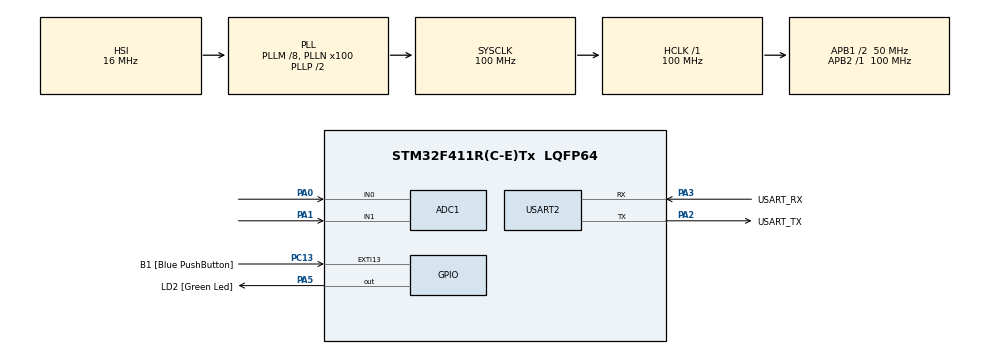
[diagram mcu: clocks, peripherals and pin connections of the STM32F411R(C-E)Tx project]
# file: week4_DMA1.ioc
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ADC1.Channel-0\#ChannelRegularConversion=ADC_CHANNEL_0
ADC1.Channel-1\#ChannelRegularConversion=ADC_CHANNEL_1
ADC1.Channel-2\#ChannelRegularConversion=ADC_CHANNEL_TEMPSENSOR
ADC1.Channel-3\#ChannelRegularConversion=ADC_CHANNEL_VREFINT
ADC1.ContinuousConvMode=ENABLE
ADC1.DMAContinuousRequests=ENABLE
ADC1.DiscontinuousConvMode=DISABLE
ADC1.NbrOfConversion=4
ADC1.NbrOfConversionFlag=1
ADC1.Rank-0\#ChannelRegularConversion=1
ADC1.Rank-1\#ChannelRegularConversion=2
ADC1.Rank-2\#ChannelRegularConversion=3
ADC1.Rank-3\#ChannelRegularConversion=4
ADC1.SamplingTime-0\#ChannelRegularConversion=ADC_SAMPLETIME_56CYCLES
ADC1.SamplingTime-1\#ChannelRegularConversion=ADC_SAMPLETIME_56CYCLES
ADC1.SamplingTime-2\#ChannelRegularConversion=ADC_SAMPLETIME_56CYCLES
ADC1.SamplingTime-3\#ChannelRegularConversion=ADC_SAMPLETIME_56CYCLES
ADC1.ScanConvMode=ENABLE
ADC1.master=1
Dma.ADC1.0.Direction=DMA_PERIPH_TO_MEMORY
Dma.ADC1.0.FIFOMode=DMA_FIFOMODE_DISABLE
Dma.ADC1.0.Instance=DMA2_Stream4
Dma.ADC1.0.MemDataAlignment=DMA_MDATAALIGN_WORD
Dma.ADC1.0.MemInc=DMA_MINC_ENABLE
Dma.ADC1.0.Mode=DMA_CIRCULAR
Dma.ADC1.0.PeriphDataAlignment=DMA_PDATAALIGN_WORD
Dma.ADC1.0.PeriphInc=DMA_PINC_DISABLE
Dma.ADC1.0.Priority=DMA_PRIORITY_LOW
Dma.Request0=ADC1
Mcu.Family=STM32F4
Mcu.Name=STM32F411R(C-E)Tx
Mcu.Package=LQFP64
NVIC.DMA2_Stream4_IRQn=true\:0\:0\:false\:false\:true\:false\:true
NVIC.EXTI15_10_IRQn=true\:0\:0\:false\:false\:true\:true\:true
NVIC.PriorityGroup=NVIC_PRIORITYGROUP_0
NVIC.TIM3_IRQn=true\:0\:0\:false\:false\:true\:true\:true
PA0-WKUP.Signal=ADCx_IN0
PA1.Signal=ADCx_IN1
PA13.GPIO_Label=TMS
PA13.Mode=Serial_Wire
PA13.Signal=SYS_JTMS-SWDIO
PA14.GPIO_Label=TCK
PA14.Mode=Serial_Wire
PA14.Signal=SYS_JTCK-SWCLK
PA2.GPIO_Label=USART_TX
PA2.Mode=Asynchronous
PA2.Signal=USART2_TX
PA3.GPIO_Label=USART_RX
PA3.Mode=Asynchronous
PA3.Signal=USART2_RX
PA5.GPIO_Label=LD2 [Green Led]
PA5.Signal=GPIO_Output
PB3.GPIO_Label=SWO
PB3.Signal=SYS_JTDO-SWO
PC13-ANTI_TAMP.GPIO_Label=B1 [Blue PushButton]
PC13-ANTI_TAMP.GPIO_ModeDefaultEXTI=GPIO_MODE_IT_FALLING
PC13-ANTI_TAMP.GPIO_PuPd=GPIO_PULLUP
PC13-ANTI_TAMP.Signal=GPXTI13
PC14-OSC32_IN.Mode=LSE-External-Oscillator
PC14-OSC32_IN.Signal=RCC_OSC32_IN
PC15-OSC32_OUT.Mode=LSE-External-Oscillator
PC15-OSC32_OUT.Signal=RCC_OSC32_OUT
PH0\ -\ OSC_IN.Mode=HSE-External-Clock-Source
PH0\ -\ OSC_IN.Signal=RCC_OSC_IN
PH1\ -\ OSC_OUT.Mode=HSE-External-Clock-Source
PH1\ -\ OSC_OUT.Signal=RCC_OSC_OUT
ProjectManager.HeapSize=0x200
ProjectManager.StackSize=0x400
ProjectManager.TargetToolchain=STM32CubeIDE
RCC.48MHZClocksFreq_Value=50000000
RCC.AHBFreq_Value=100000000
RCC.APB1CLKDivider=RCC_HCLK_DIV2
RCC.APB1Freq_Value=50000000
RCC.APB1TimFreq_Value=100000000
RCC.APB2Freq_Value=100000000
RCC.APB2TimFreq_Value=100000000
RCC.CortexFreq_Value=100000000
RCC.FLatency-AdvancedSettings=FLASH_LATENCY_3
RCC.HCLKFreq_Value=100000000
RCC.HSE_VALUE=8000000
RCC.HSI_VALUE=16000000
RCC.PLLM=8
RCC.PLLN=100
RCC.SYSCLKFreq_VALUE=100000000
RCC.SYSCLKSource=RCC_SYSCLKSOURCE_PLLCLK
RCC.VCOOutputFreq_Value=200000000
SH.ADCx_IN0.0=ADC1_IN0,IN0
SH.ADCx_IN1.0=ADC1_IN1,IN1
TIM3.AutoReloadPreload=TIM_AUTORELOAD_PRELOAD_DISABLE
TIM3.Period=65535
TIM3.Prescaler=9
TIM3.TIM_MasterOutputTrigger=TIM_TRGO_UPDATE
USART2.VirtualMode=VM_ASYNC
VP_ADC1_TempSens_Input.Mode=IN-TempSens
VP_ADC1_Vref_Input.Mode=IN-Vrefint
VP_TIM3_VS_ClockSourceINT.Mode=Internal
board=NUCLEO-F411RE

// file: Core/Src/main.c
/* USER CODE BEGIN Header */
/**
  ******************************************************************************
  * @file           : main.c
  * @brief          : Main program body
  ******************************************************************************
  * @attention
  *
  * Copyright (c) 2022 STMicroelectronics.
  * All rights reserved.
  *
  * This software is licensed under terms that can be found in the LICENSE file
  * in the root directory of this software component.
  * If no LICENSE file comes with this software, it is provided AS-IS.
  *
  ******************************************************************************
  */
/* USER CODE END Header */
#include "main.h"

ADC_HandleTypeDef hadc1;
DMA_HandleTypeDef hdma_adc1;

TIM_HandleTypeDef htim3;

UART_HandleTypeDef huart2;

/* USER CODE BEGIN PV */
// container of DMA (PA0 PA1 Temp Vref)
uint32_t ADCData[4]={0}; // 8_t byte / 16_t half word / 32_t word
static uint32_t timestp = 0;
static uint32_t responTime = 0;
//static uint64_t Realtime = 0;
//static uint64_t Realtii = 0;
static uint8_t STG = 0; // game state
uint32_t millix;
uint32_t randomTime = 0;
uint32_t deltatime=0;
uint8_t rise = 0; // fake rising edge
uint8_t gameTrig = 0; // start func
uint8_t stx = 0;

uint64_t _microstamp = 0; // help microsc to stamp time from many overflowsss
/* USER CODE END PV */

void SystemClock_Config(void);
static void MX_GPIO_Init(void);
static void MX_USART2_UART_Init(void);
static void MX_DMA_Init(void);
static void MX_ADC1_Init(void);
static void MX_TIM3_Init(void);
/* USER CODE BEGIN PFP */
void StTimeGame();
uint64_t microsc(); // TIM3 as microsecond
/* USER CODE END PFP */

int main(void)
{

  /* MCU Configuration--------------------------------------------------------*/

  /* Reset of all peripherals, Initializes the Flash interface and the Systick. */
  HAL_Init();

  /* Configure the system clock */
  SystemClock_Config();

  /* Initialize all configured peripherals */
  MX_GPIO_Init();
  MX_USART2_UART_Init();
  MX_DMA_Init();
  MX_ADC1_Init();
  MX_TIM3_Init();
  /* USER CODE BEGIN 2 */
  HAL_ADC_Start_DMA(&hadc1, ADCData, 4); // array size
  HAL_GPIO_WritePin(GPIOA, GPIO_PIN_5, GPIO_PIN_SET); // start on LED

  HAL_TIM_Base_Start_IT(&htim3);

  /* USER CODE END 2 */

  /* Infinite loop */
  /* USER CODE BEGIN WHILE */
  while (1)
  {
	  HAL_Delay(100000000);
	  //Realtime = HAL_GetTick(); //microsc()
	  //Realtii = microsc();
	  //if(gameTrig == 1){StTimeGame();}

    /* USER CODE END WHILE */

  }
}

void SystemClock_Config(void)
{
  RCC_OscInitTypeDef RCC_OscInitStruct = {0};
  RCC_ClkInitTypeDef RCC_ClkInitStruct = {0};

  /** Configure the main internal regulator output voltage
  */
  __HAL_RCC_PWR_CLK_ENABLE();
  __HAL_PWR_VOLTAGESCALING_CONFIG(PWR_REGULATOR_VOLTAGE_SCALE1);
  /** Initializes the RCC Oscillators according to the specified parameters
  * in the RCC_OscInitTypeDef structure.
  */
  RCC_OscInitStruct.OscillatorType = RCC_OSCILLATORTYPE_HSI;
  RCC_OscInitStruct.HSIState = RCC_HSI_ON;
  RCC_OscInitStruct.HSICalibrationValue = RCC_HSICALIBRATION_DEFAULT;
  RCC_OscInitStruct.PLL.PLLState = RCC_PLL_ON;
  RCC_OscInitStruct.PLL.PLLSource = RCC_PLLSOURCE_HSI;
  RCC_OscInitStruct.PLL.PLLM = 8;
  RCC_OscInitStruct.PLL.PLLN = 100;
  RCC_OscInitStruct.PLL.PLLP = RCC_PLLP_DIV2;
  RCC_OscInitStruct.PLL.PLLQ = 4;
  if (HAL_RCC_OscConfig(&RCC_OscInitStruct) != HAL_OK)
  {
    Error_Handler();
  }
  /** Initializes the CPU, AHB and APB buses clocks
  */
  RCC_ClkInitStruct.ClockType = RCC_CLOCKTYPE_HCLK|RCC_CLOCKTYPE_SYSCLK
                              |RCC_CLOCKTYPE_PCLK1|RCC_CLOCKTYPE_PCLK2;
  RCC_ClkInitStruct.SYSCLKSource = RCC_SYSCLKSOURCE_PLLCLK;
  RCC_ClkInitStruct.AHBCLKDivider = RCC_SYSCLK_DIV1;
  RCC_ClkInitStruct.APB1CLKDivider = RCC_HCLK_DIV2;
  RCC_ClkInitStruct.APB2CLKDivider = RCC_HCLK_DIV1;

  if (HAL_RCC_ClockConfig(&RCC_ClkInitStruct, FLASH_LATENCY_3) != HAL_OK)
  {
    Error_Handler();
  }
}

static void MX_ADC1_Init(void)
{

  ADC_ChannelConfTypeDef sConfig = {0};

  /** Configure the global features of the ADC (Clock, Resolution, Data Alignment and number of conversion)
  */
  hadc1.Instance = ADC1;
  hadc1.Init.ClockPrescaler = ADC_CLOCK_SYNC_PCLK_DIV4;
  hadc1.Init.Resolution = ADC_RESOLUTION_12B;
  hadc1.Init.ScanConvMode = ENABLE;
  hadc1.Init.ContinuousConvMode = ENABLE;
  hadc1.Init.DiscontinuousConvMode = DISABLE;
  hadc1.Init.ExternalTrigConvEdge = ADC_EXTERNALTRIGCONVEDGE_NONE;
  hadc1.Init.ExternalTrigConv = ADC_SOFTWARE_START;
  hadc1.Init.DataAlign = ADC_DATAALIGN_RIGHT;
  hadc1.Init.NbrOfConversion = 4;
  hadc1.Init.DMAContinuousRequests = ENABLE;
  hadc1.Init.EOCSelection = ADC_EOC_SINGLE_CONV;
  if (HAL_ADC_Init(&hadc1) != HAL_OK)
  {
    Error_Handler();
  }
  /** Configure for the selected ADC regular channel its corresponding rank in the sequencer and its sample time.
  */
  sConfig.Channel = ADC_CHANNEL_0;
  sConfig.Rank = 1;
  sConfig.SamplingTime = ADC_SAMPLETIME_56CYCLES;
  if (HAL_ADC_ConfigChannel(&hadc1, &sConfig) != HAL_OK)
  {
    Error_Handler();
  }
  /** Configure for the selected ADC regular channel its corresponding rank in the sequencer and its sample time.
  */
  sConfig.Channel = ADC_CHANNEL_1;
  sConfig.Rank = 2;
  if (HAL_ADC_ConfigChannel(&hadc1, &sConfig) != HAL_OK)
  {
    Error_Handler();
  }
  /** Configure for the selected ADC regular channel its corresponding rank in the sequencer and its sample time.
  */
  sConfig.Channel = ADC_CHANNEL_TEMPSENSOR;
  sConfig.Rank = 3;
  if (HAL_ADC_ConfigChannel(&hadc1, &sConfig) != HAL_OK)
  {
    Error_Handler();
  }
  /** Configure for the selected ADC regular channel its corresponding rank in the sequencer and its sample time.
  */
  sConfig.Channel = ADC_CHANNEL_VREFINT;
  sConfig.Rank = 4;
  if (HAL_ADC_ConfigChannel(&hadc1, &sConfig) != HAL_OK)
  {
    Error_Handler();
  }

}

static void MX_TIM3_Init(void)
{

  TIM_ClockConfigTypeDef sClockSourceConfig = {0};
  TIM_MasterConfigTypeDef sMasterConfig = {0};

  htim3.Instance = TIM3;
  htim3.Init.Prescaler = 9;
  htim3.Init.CounterMode = TIM_COUNTERMODE_UP;
  htim3.Init.Period = 65535;
  htim3.Init.ClockDivision = TIM_CLOCKDIVISION_DIV1;
  htim3.Init.AutoReloadPreload = TIM_AUTORELOAD_PRELOAD_DISABLE;
  if (HAL_TIM_Base_Init(&htim3) != HAL_OK)
  {
    Error_Handler();
  }
  sClockSourceConfig.ClockSource = TIM_CLOCKSOURCE_INTERNAL;
  if (HAL_TIM_ConfigClockSource(&htim3, &sClockSourceConfig) != HAL_OK)
  {
    Error_Handler();
  }
  sMasterConfig.MasterOutputTrigger = TIM_TRGO_UPDATE;
  sMasterConfig.MasterSlaveMode = TIM_MASTERSLAVEMODE_DISABLE;
  if (HAL_TIMEx_MasterConfigSynchronization(&htim3, &sMasterConfig) != HAL_OK)
  {
    Error_Handler();
  }

}

static void MX_USART2_UART_Init(void)
{

  huart2.Instance = USART2;
  huart2.Init.BaudRate = 115200;
  huart2.Init.WordLength = UART_WORDLENGTH_8B;
  huart2.Init.StopBits = UART_STOPBITS_1;
  huart2.Init.Parity = UART_PARITY_NONE;
  huart2.Init.Mode = UART_MODE_TX_RX;
  huart2.Init.HwFlowCtl = UART_HWCONTROL_NONE;
  huart2.Init.OverSampling = UART_OVERSAMPLING_16;
  if (HAL_UART_Init(&huart2) != HAL_OK)
  {
    Error_Handler();
  }

}

static void MX_DMA_Init(void)
{

  /* DMA controller clock enable */
  __HAL_RCC_DMA2_CLK_ENABLE();

  /* DMA interrupt init */
  /* DMA2_Stream4_IRQn interrupt configuration */
  HAL_NVIC_SetPriority(DMA2_Stream4_IRQn, 0, 0);
  HAL_NVIC_EnableIRQ(DMA2_Stream4_IRQn);

}

static void MX_GPIO_Init(void)
{
  GPIO_InitTypeDef GPIO_InitStruct = {0};

  /* GPIO Ports Clock Enable */
  __HAL_RCC_GPIOC_CLK_ENABLE();
  __HAL_RCC_GPIOH_CLK_ENABLE();
  __HAL_RCC_GPIOA_CLK_ENABLE();
  __HAL_RCC_GPIOB_CLK_ENABLE();

  /*Configure GPIO pin Output Level */
  HAL_GPIO_WritePin(LD2_GPIO_Port, LD2_Pin, GPIO_PIN_RESET);

  /*Configure GPIO pin : B1_Pin */
  GPIO_InitStruct.Pin = B1_Pin;
  GPIO_InitStruct.Mode = GPIO_MODE_IT_FALLING;
  GPIO_InitStruct.Pull = GPIO_PULLUP;
  HAL_GPIO_Init(B1_GPIO_Port, &GPIO_InitStruct);

  /*Configure GPIO pin : LD2_Pin */
  GPIO_InitStruct.Pin = LD2_Pin;
  GPIO_InitStruct.Mode = GPIO_MODE_OUTPUT_PP;
  GPIO_InitStruct.Pull = GPIO_NOPULL;
  GPIO_InitStruct.Speed = GPIO_SPEED_FREQ_LOW;
  HAL_GPIO_Init(LD2_GPIO_Port, &GPIO_InitStruct);

  /* EXTI interrupt init*/
  HAL_NVIC_SetPriority(EXTI15_10_IRQn, 0, 0);
  HAL_NVIC_EnableIRQ(EXTI15_10_IRQn);

}

/* USER CODE BEGIN 4 */
//////// Interrupt in
void HAL_GPIO_EXTI_Callback(uint16_t GPIO_Pin)
{
	// craze random = 1000 + (((22695477*ADCData[0])+ADCData[1]) % 10000);

	if(GPIO_Pin == GPIO_PIN_13) // falling, choose rising-falling at GUI
	{
		//HAL_GPIO_TogglePin(LD2_GPIO_Port, LD2_Pin);
		HAL_GPIO_WritePin(GPIOA, GPIO_PIN_5, GPIO_PIN_RESET);//start game
		// * 10000 if use with microsc timer
		randomTime = (1000 + (((22695477*ADCData[0])+ADCData[1]) % 10000))*1; // get random from ADC DMA
		//timestp = HAL_GetTick(); // stamp time start random count
		timestp = microsc();
		STG = 1;
		//StTimeGame();
		gameTrig = 1;
		/////////////////////////// StTime while parttt/////////////////////
		/*deltatime = microsc() - timestp ;
		while (deltatime < randomTime){
			microsc();
			deltatime = microsc() - timestp ;
			stx = 1;
		}
		HAL_GPIO_WritePin(GPIOA, GPIO_PIN_5, GPIO_PIN_SET);
		timestp = microsc();
		while(rise!=1){
			rise =  HAL_GPIO_ReadPin(GPIOC, GPIO_PIN_13);
			stx = 2;
		}
		responTime = microsc() - timestp;
		*/
	}
	//if(gameTrig == 1){StTimeGame();}

}
/*
void TimeGame(){
	uint8_t clrnc = 5;
	if(Realtime - timestp >= randomTime - clrnc &&
			Realtime - timestp <= randomTime + clrnc){ //start time count
		HAL_GPIO_WritePin(GPIOA, GPIO_PIN_5, GPIO_PIN_SET);
		timestp = HAL_GetTick(); // startstamp response
		deb_stp = 8;

	}

	else{responTime = responTime;deb_stp = 4;}

	if (rise == 1) {
				deb_stp = 6;
				responTime = Realtime - timestp; // stamp response
				gameTrig = 0;
			}
}*/

void StTimeGame(){
	rise =  HAL_GPIO_ReadPin(GPIOC, GPIO_PIN_13);
	switch(STG){
	case 1:
		//if (Realtime - timestp >= randomTime){
		if (microsc() - timestp >= randomTime){
			HAL_GPIO_WritePin(GPIOA, GPIO_PIN_5, GPIO_PIN_SET);
			//timestp = HAL_GetTick(); // startstamp response
			timestp = microsc();
			STG = 2;
		}

		if(rise == 1){ //release beforetime -> return 555 and end game
					responTime = 5555555;
					STG = 0;
					gameTrig = 0;
				}
		break;
	case 2:
		if(rise == 1){
			//responTime = Realtime - timestp; // stamp response
			responTime = microsc() - timestp;
			STG = 0;
			gameTrig = 0;
		}
		break;
	}
}

void HAL_TIM_PeriodElapsedCallback(TIM_HandleTypeDef *htim)
{
	if(htim == &htim3){
		_microstamp += 65535;
		millix++;
		if(gameTrig == 1){StTimeGame();}
	}
}

uint64_t microsc() { // timer
	//_microstamp += ;
	return (_microstamp + htim3.Instance->CNT)/10000;
}
/* USER CODE END 4 */

void Error_Handler(void)
{
  __disable_irq();
  while (1)
  {
  }
}
